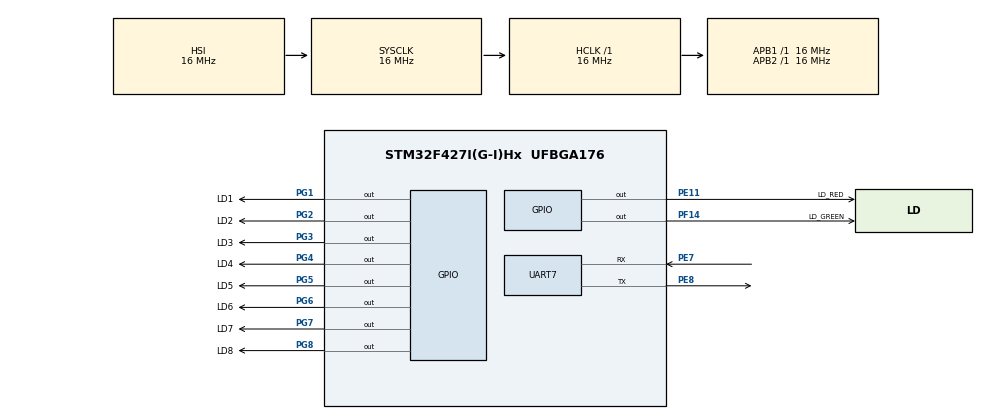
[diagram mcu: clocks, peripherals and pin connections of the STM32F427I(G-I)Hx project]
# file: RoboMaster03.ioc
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Mcu.Family=STM32F4
Mcu.Name=STM32F427I(G-I)Hx
Mcu.Package=UFBGA176
NVIC.PriorityGroup=NVIC_PRIORITYGROUP_4
NVIC.UART7_IRQn=true\:0\:0\:false\:false\:true\:true\:true
PE11.GPIO_Label=LD_RED
PE11.Signal=GPIO_Output
PE7.Mode=Asynchronous
PE7.Signal=UART7_RX
PE8.Mode=Asynchronous
PE8.Signal=UART7_TX
PF14.GPIO_Label=LD_GREEN
PF14.Signal=GPIO_Output
PG1.GPIO_Label=LD1
PG1.Signal=GPIO_Output
PG2.GPIO_Label=LD2
PG2.Signal=GPIO_Output
PG3.GPIO_Label=LD3
PG3.Signal=GPIO_Output
PG4.GPIO_Label=LD4
PG4.Signal=GPIO_Output
PG5.GPIO_Label=LD5
PG5.Signal=GPIO_Output
PG6.GPIO_Label=LD6
PG6.Signal=GPIO_Output
PG7.GPIO_Label=LD7
PG7.Signal=GPIO_Output
PG8.GPIO_Label=LD8
PG8.Signal=GPIO_Output
ProjectManager.HeapSize=0x200
ProjectManager.StackSize=0x400
ProjectManager.TargetToolchain=SW4STM32
RCC.AHBFreq_Value=16000000
RCC.APB1Freq_Value=16000000
RCC.APB2Freq_Value=16000000
RCC.CortexFreq_Value=16000000
RCC.HSE_VALUE=25000000
RCC.HSI_VALUE=16000000
RCC.LSE_VALUE=32768
RCC.SYSCLKFreq_VALUE=16000000
RCC.VCOOutputFreq_Value=192000000
UART7.VirtualMode=Asynchronous
board=custom

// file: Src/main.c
/* USER CODE BEGIN Header */
/**
  ******************************************************************************
  * @file           : main.c
  * @brief          : Main program body
  ******************************************************************************
  * @attention
  *
  * <h2><center>&copy; Copyright (c) 2020 STMicroelectronics.
  * All rights reserved.</center></h2>
  *
  * This software component is licensed by ST under BSD 3-Clause license,
  * the "License"; You may not use this file except in compliance with the
  * License. You may obtain a copy of the License at:
  *                        opensource.org/licenses/BSD-3-Clause
  *
  ******************************************************************************
  */
/* USER CODE END Header */

#include "main.h"

/* USER CODE BEGIN Includes */
#include "string.h"
/* USER CODE END Includes */

UART_HandleTypeDef huart7;

void SystemClock_Config(void);
static void MX_GPIO_Init(void);
static void MX_UART7_Init(void);

/* USER CODE BEGIN 0 */
char readBuf[1];
/* USER CODE END 0 */

int main(void)
{

  /* MCU Configuration--------------------------------------------------------*/

  /* Reset of all peripherals, Initializes the Flash interface and the Systick. */
  HAL_Init();

  /* Configure the system clock */
  SystemClock_Config();

  /* Initialize all configured peripherals */
  MX_GPIO_Init();
  MX_UART7_Init();
  /* USER CODE BEGIN 2 */
  HAL_UART_Receive_IT(&huart7,(uint8_t*)readBuf,1);
  /* USER CODE END 2 */

  /* Infinite loop */
  while (1)
  {

  }
}

void SystemClock_Config(void)
{
  RCC_OscInitTypeDef RCC_OscInitStruct = {0};
  RCC_ClkInitTypeDef RCC_ClkInitStruct = {0};

  /** Configure the main internal regulator output voltage
  */
  __HAL_RCC_PWR_CLK_ENABLE();
  __HAL_PWR_VOLTAGESCALING_CONFIG(PWR_REGULATOR_VOLTAGE_SCALE3);
  /** Initializes the CPU, AHB and APB busses clocks
  */
  RCC_OscInitStruct.OscillatorType = RCC_OSCILLATORTYPE_HSI;
  RCC_OscInitStruct.HSIState = RCC_HSI_ON;
  RCC_OscInitStruct.HSICalibrationValue = RCC_HSICALIBRATION_DEFAULT;
  RCC_OscInitStruct.PLL.PLLState = RCC_PLL_NONE;
  if (HAL_RCC_OscConfig(&RCC_OscInitStruct) != HAL_OK)
  {
    Error_Handler();
  }
  /** Initializes the CPU, AHB and APB busses clocks
  */
  RCC_ClkInitStruct.ClockType = RCC_CLOCKTYPE_HCLK|RCC_CLOCKTYPE_SYSCLK
                              |RCC_CLOCKTYPE_PCLK1|RCC_CLOCKTYPE_PCLK2;
  RCC_ClkInitStruct.SYSCLKSource = RCC_SYSCLKSOURCE_HSI;
  RCC_ClkInitStruct.AHBCLKDivider = RCC_SYSCLK_DIV1;
  RCC_ClkInitStruct.APB1CLKDivider = RCC_HCLK_DIV1;
  RCC_ClkInitStruct.APB2CLKDivider = RCC_HCLK_DIV1;

  if (HAL_RCC_ClockConfig(&RCC_ClkInitStruct, FLASH_LATENCY_0) != HAL_OK)
  {
    Error_Handler();
  }
}

static void MX_UART7_Init(void)
{

  huart7.Instance = UART7;
  huart7.Init.BaudRate = 115200;
  huart7.Init.WordLength = UART_WORDLENGTH_8B;
  huart7.Init.StopBits = UART_STOPBITS_1;
  huart7.Init.Parity = UART_PARITY_NONE;
  huart7.Init.Mode = UART_MODE_TX_RX;
  huart7.Init.HwFlowCtl = UART_HWCONTROL_NONE;
  huart7.Init.OverSampling = UART_OVERSAMPLING_16;
  if (HAL_UART_Init(&huart7) != HAL_OK)
  {
    Error_Handler();
  }

}

static void MX_GPIO_Init(void)
{
  GPIO_InitTypeDef GPIO_InitStruct = {0};

  /* GPIO Ports Clock Enable */
  __HAL_RCC_GPIOG_CLK_ENABLE();
  __HAL_RCC_GPIOE_CLK_ENABLE();
  __HAL_RCC_GPIOF_CLK_ENABLE();

  /*Configure GPIO pin Output Level */
  HAL_GPIO_WritePin(GPIOG, LD8_Pin|LD7_Pin|LD6_Pin|LD5_Pin
                          |LD4_Pin|LD3_Pin|LD2_Pin|LD1_Pin, GPIO_PIN_RESET);

  /*Configure GPIO pin Output Level */
  HAL_GPIO_WritePin(LD_RED_GPIO_Port, LD_RED_Pin, GPIO_PIN_RESET);

  /*Configure GPIO pin Output Level */
  HAL_GPIO_WritePin(LD_GREEN_GPIO_Port, LD_GREEN_Pin, GPIO_PIN_RESET);

  /*Configure GPIO pins : LD8_Pin LD7_Pin LD6_Pin LD5_Pin
                           LD4_Pin LD3_Pin LD2_Pin LD1_Pin */
  GPIO_InitStruct.Pin = LD8_Pin|LD7_Pin|LD6_Pin|LD5_Pin
                          |LD4_Pin|LD3_Pin|LD2_Pin|LD1_Pin;
  GPIO_InitStruct.Mode = GPIO_MODE_OUTPUT_PP;
  GPIO_InitStruct.Pull = GPIO_NOPULL;
  GPIO_InitStruct.Speed = GPIO_SPEED_FREQ_LOW;
  HAL_GPIO_Init(GPIOG, &GPIO_InitStruct);

  /*Configure GPIO pin : LD_RED_Pin */
  GPIO_InitStruct.Pin = LD_RED_Pin;
  GPIO_InitStruct.Mode = GPIO_MODE_OUTPUT_PP;
  GPIO_InitStruct.Pull = GPIO_NOPULL;
  GPIO_InitStruct.Speed = GPIO_SPEED_FREQ_LOW;
  HAL_GPIO_Init(LD_RED_GPIO_Port, &GPIO_InitStruct);

  /*Configure GPIO pin : LD_GREEN_Pin */
  GPIO_InitStruct.Pin = LD_GREEN_Pin;
  GPIO_InitStruct.Mode = GPIO_MODE_OUTPUT_PP;
  GPIO_InitStruct.Pull = GPIO_NOPULL;
  GPIO_InitStruct.Speed = GPIO_SPEED_FREQ_LOW;
  HAL_GPIO_Init(LD_GREEN_GPIO_Port, &GPIO_InitStruct);

}

/* USER CODE BEGIN 4 */
void HAL_UART_RxCpltCallback(UART_HandleTypeDef *UartHandle){
	switch(readBuf[0]){
		case 'r':
			HAL_GPIO_TogglePin(LD_RED_GPIO_Port,LD_RED_Pin);
			HAL_UART_Transmit(&huart7,(uint8_t*)"LED_RED!\r\n",strlen("LED_RED!\r\n"),HAL_MAX_DELAY);
			break;
		case 'g':
			HAL_GPIO_TogglePin(LD_GREEN_GPIO_Port,LD_GREEN_Pin);
			HAL_UART_Transmit(&huart7,(uint8_t*)"LED_GREEN!\r\n",strlen("LED_GREEN!\r\n"),HAL_MAX_DELAY);
			break;
		case '1':
			HAL_GPIO_TogglePin(LD1_GPIO_Port,LD1_Pin);
			HAL_UART_Transmit(&huart7,(uint8_t*)"LED1!\r\n",strlen("LED1!\r\n"),HAL_MAX_DELAY);
			break;
		case '2':
			HAL_GPIO_TogglePin(LD2_GPIO_Port,LD2_Pin);
			HAL_UART_Transmit(&huart7,(uint8_t*)"LED2!\r\n",strlen("LED2!\r\n"),HAL_MAX_DELAY);
			break;
		case '3':
			HAL_GPIO_TogglePin(LD3_GPIO_Port,LD3_Pin);
			HAL_UART_Transmit(&huart7,(uint8_t*)"LED3!\r\n",strlen("LED3!\r\n"),HAL_MAX_DELAY);
			break;
		case '4':
			HAL_GPIO_TogglePin(LD4_GPIO_Port,LD4_Pin);
			HAL_UART_Transmit(&huart7,(uint8_t*)"LED4!\r\n",strlen("LED4!\r\n"),HAL_MAX_DELAY);
			break;
		case '5':
			HAL_GPIO_TogglePin(LD5_GPIO_Port,LD5_Pin);
			HAL_UART_Transmit(&huart7,(uint8_t*)"LED5!\r\n",strlen("LED5!\r\n"),HAL_MAX_DELAY);
			break;
		case '6':
			HAL_GPIO_TogglePin(LD6_GPIO_Port,LD6_Pin);
			HAL_UART_Transmit(&huart7,(uint8_t*)"LED6!\r\n",strlen("LED6!\r\n"),HAL_MAX_DELAY);
			break;
		case '7':
			HAL_GPIO_TogglePin(LD7_GPIO_Port,LD7_Pin);
			HAL_UART_Transmit(&huart7,(uint8_t*)"LED7!\r\n",strlen("LED7!\r\n"),HAL_MAX_DELAY);
			break;
		case '8':
			HAL_GPIO_TogglePin(LD8_GPIO_Port,LD8_Pin);
			HAL_UART_Transmit(&huart7,(uint8_t*)"LED8!\r\n",strlen("LED8!\r\n"),HAL_MAX_DELAY);
			break;
	}
	HAL_UART_Receive_IT(&huart7,(uint8_t*)readBuf,1);
}
/* USER CODE END 4 */

void Error_Handler(void)
{
}

/************************ (C) COPYRIGHT STMicroelectronics *****END OF FILE****/
